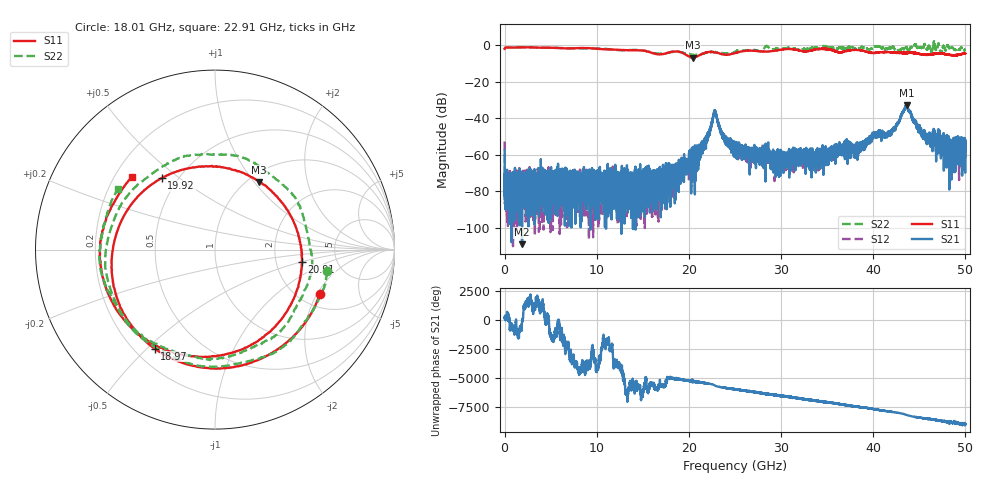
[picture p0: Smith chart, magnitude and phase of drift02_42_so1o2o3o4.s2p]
!Created with skrf (http://scikit-rf.org).
# Hz S RI R 50.0
!freq ReS11 ImS11 ReS21 ImS21 ReS12 ImS12 ReS22 ImS22
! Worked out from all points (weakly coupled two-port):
!   10001 points, 300 kHz to 50 GHz, reference 50 ohm
!   highest |S21| = -32.85 dB at 43.66 GHz (marker M1); lowest = -108.8 dB at 1.89 GHz (marker M2)
!   lowest |S11| = -6.9 dB at 20.42 GHz (marker M3), VSWR 2.64, Z = 56.1 + j53 ohm
!   |S11| at or under -10 dB: nowhere
!   |S22| runs from -5.7 to 2.4 dB; largest |S21 - S12| = 0.0034
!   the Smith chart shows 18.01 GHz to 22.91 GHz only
!   S11 on the Smith chart (normalised r, x): 18.01 GHz: 2.58, -2.11; 18.97 GHz: 0.28, -0.53; 19.92 GHz: 0.41, +0.43; 20.91 GHz: 2.81, -0.50; 22.91 GHz: 0.27, +0.35
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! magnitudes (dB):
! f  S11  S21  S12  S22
! 300 kHz  -2.1  -57.6  -52.7  -2.1
! 255.3 MHz  -1.4  -76.0  -93.4  -1.4
! 1.89 GHz  -1.4  -108.8  -80.6  -1.3
! 8.335 GHz  -1.7  -77.4  -77.4  -1.9
! 16.67 GHz  -5.2  -74.7  -71.1  -4.7
! 18.01 GHz  -4.0  -65.9  -70.0  -4.0
! 18.97 GHz  -3.8  -69.9  -65.7  -3.9
! 19.92 GHz  -6.1  -65.2  -65.9  -5.2
! 20.42 GHz  -6.9  -58.0  -61.1  -5.4
! 20.91 GHz  -6.2  -64.7  -60.6  -5.6
! 22.91 GHz  -4.2  -36.9  -36.8  -3.9
! 23.78 GHz  -5.3  -51.1  -49.2  -4.6
! 25 GHz  -4.5  -53.3  -55.9  -3.9
! 29.47 GHz  -3.1  -59.5  -65.4  -2.0
! 33.34 GHz  -3.0  -61.0  -63.4  -1.6
! 38.16 GHz  -2.7  -56.3  -55.7  -2.4
! 40.27 GHz  -4.4  -49.1  -48.9  -0.8
! 41.67 GHz  -4.0  -49.0  -48.4  -2.0
! 43.66 GHz  -4.3  -32.8  -33.2  -2.0
! 45.82 GHz  -5.4  -53.4  -51.7  -2.5
! 48.56 GHz  -5.6  -54.7  -58.3  -1.7
! 50 GHz  -4.7  -53.3  -53.2  -2.7
